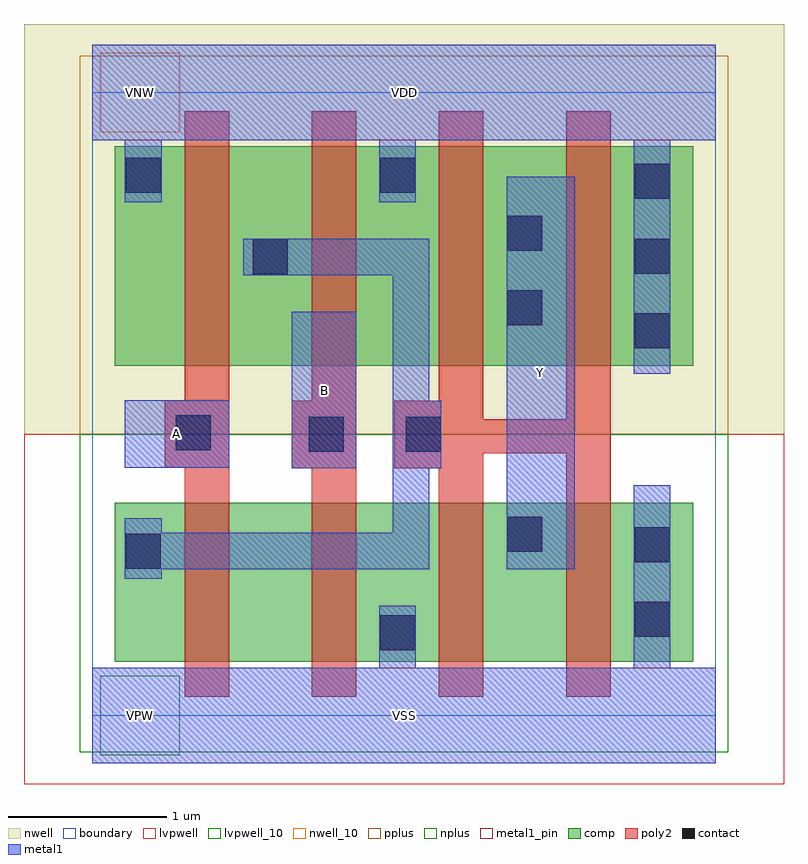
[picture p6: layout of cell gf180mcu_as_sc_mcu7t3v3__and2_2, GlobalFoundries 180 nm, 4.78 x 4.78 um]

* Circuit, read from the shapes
.subckt gf180mcu_as_sc_mcu7t3v3__and2_2 A B VDD VNW VSS Y
XM1 n1 A n2 VSUBS nfet_03v3 w=1u l=0.28u
XM2 VSS B n1 VSUBS nfet_03v3 w=1u l=0.28u
XM3 Y n2 VSS VSUBS nfet_03v3 w=1u l=0.28u m=2
XM4 n2 A VDD VNW pfet_03v3 w=1.38u l=0.28u
XM5 VDD B n2 VNW pfet_03v3 w=1.38u l=0.28u
XM6 Y n2 VDD VNW pfet_03v3 w=1.38u l=0.28u m=2
.ends

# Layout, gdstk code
import gdstk
lib = gdstk.Library(unit=1e-6, precision=1e-09)
def R(c, l, rs):  # rectangles x0, y0, x1, y1
    for r in rs: c.add(gdstk.rectangle(r[:2], r[2:], *l))
def A(c, l, x, y, w, h, nx, ny, dx, dy):  # array of equal rectangles
    R(c, l, [(x+i*dx, y+j*dy, x+i*dx+w, y+j*dy+h) for i in range(nx) for j in range(ny)])
boundary = (0, 0)
nwell = (21, 0)
nwell_10 = (21, 10)
comp = (22, 0)
poly2 = (30, 0)
pplus = (31, 0)
nplus = (32, 0)
contact = (33, 0)
metal1 = (34, 0)
metal1_pin = (34, 10)
lvpwell = (204, 0)
lvpwell_10 = (204, 10)

gf180mcu_as_sc_mcu7t3v3_ = lib.new_cell('gf180mcu_as_sc_mcu7t3v3__and2_2')
R(gf180mcu_as_sc_mcu7t3v3_, boundary, [(0,0,3.92,3.92)])
R(gf180mcu_as_sc_mcu7t3v3_, nwell, [(-0.43,1.77,4.35,4.35)])
R(gf180mcu_as_sc_mcu7t3v3_, nwell_10, [(0.05,3.67,0.55,4.17)])
R(gf180mcu_as_sc_mcu7t3v3_, comp, [(0.14,0.34,3.78,1.34), (0.14,2.2,3.78,3.58)])
R(gf180mcu_as_sc_mcu7t3v3_, poly2, [(0.58,0.12,0.86,1.56), (1.38,0.12,1.66,1.555), (2.18,0.12,2.46,1.555), (2.98,0.12,3.26,1.65), (1.255,1.555,1.66,1.98), (1.9,1.555,2.46,1.65), (0.455,1.56,0.86,1.985), (1.9,1.65,3.26,1.865), (1.9,1.865,2.46,1.98), (2.98,1.865,3.26,3.8), (1.38,1.98,1.66,3.8), (2.18,1.98,2.46,3.8), (0.58,1.985,0.86,3.8)])
R(gf180mcu_as_sc_mcu7t3v3_, pplus, [(-0.08,1.77,4,4.15)])
R(gf180mcu_as_sc_mcu7t3v3_, nplus, [(-0.08,-0.23,4,1.77)])
A(gf180mcu_as_sc_mcu7t3v3_, contact, 3.41, 2.31, 0.22, 0.22, 1, 3, 0, 0.47)
R(gf180mcu_as_sc_mcu7t3v3_, contact, [(1.81,0.41,2.03,0.63), (3.41,0.495,3.63,0.715), (0.21,0.925,0.43,1.145), (3.41,0.965,3.63,1.185), (2.61,1.03,2.83,1.25), (1.36,1.66,1.58,1.88), (1.97,1.66,2.19,1.88), (0.525,1.67,0.745,1.89), (2.61,2.455,2.83,2.675), (1.01,2.775,1.23,2.995), (2.61,2.925,2.83,3.145), (0.21,3.29,0.43,3.51), (1.81,3.29,2.03,3.51)])
R(gf180mcu_as_sc_mcu7t3v3_, metal1, [(0,-0.3,3.92,0.3), (1.805,0.3,2.035,0.69), (3.405,0.3,3.635,1.45), (0.205,0.86,0.435,0.92), (0.205,0.92,2.12,1.15), (2.605,0.92,3.035,3.39), (0.205,1.15,0.435,1.24), (1.89,1.15,2.12,1.555), (1.255,1.555,1.66,2.54), (1.89,1.555,2.195,1.98), (0.205,1.56,0.86,1.985), (1.89,1.98,2.12,2.77), (3.405,2.15,3.635,3.62), (0.95,2.77,2.12,3), (0.205,3.23,0.435,3.62), (1.805,3.23,2.035,3.62), (0,3.62,3.92,4.22)])
R(gf180mcu_as_sc_mcu7t3v3_, metal1_pin, [(0,-0.3,3.92,0.3), (2.605,0.92,3.035,3.39), (1.255,1.555,1.66,2.54), (0.205,1.56,0.86,1.985), (0,3.62,3.92,4.22)])
R(gf180mcu_as_sc_mcu7t3v3_, lvpwell, [(-0.43,-0.43,4.35,1.77)])
R(gf180mcu_as_sc_mcu7t3v3_, lvpwell_10, [(0.05,-0.25,0.55,0.25)])
gf180mcu_as_sc_mcu7t3v3_.add(gdstk.Label('VDD', (1.96,3.92), layer=34, texttype=10))
gf180mcu_as_sc_mcu7t3v3_.add(gdstk.Label('VSS', (1.96,0), layer=34, texttype=10))
gf180mcu_as_sc_mcu7t3v3_.add(gdstk.Label('B', (1.457,2.047), layer=34, texttype=10))
gf180mcu_as_sc_mcu7t3v3_.add(gdstk.Label('A', (0.532,1.772), layer=34, texttype=10))
gf180mcu_as_sc_mcu7t3v3_.add(gdstk.Label('Y', (2.82,2.155), layer=34, texttype=10))
gf180mcu_as_sc_mcu7t3v3_.add(gdstk.Label('VNW', (0.3,3.92), layer=21, texttype=10))
gf180mcu_as_sc_mcu7t3v3_.add(gdstk.Label('VPW', (0.3,0), layer=204, texttype=10))

lib.write_gds('gf180mcu_as_sc_mcu7t3v3__and2_2.gds')
